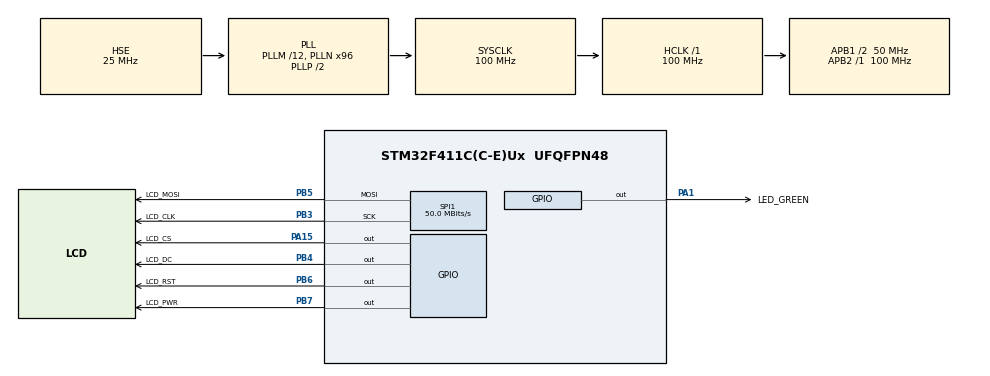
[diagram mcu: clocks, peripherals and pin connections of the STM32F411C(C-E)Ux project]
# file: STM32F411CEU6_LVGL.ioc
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Dma.Request0=SPI1_TX
Dma.SPI1_TX.0.Direction=DMA_MEMORY_TO_PERIPH
Dma.SPI1_TX.0.FIFOMode=DMA_FIFOMODE_DISABLE
Dma.SPI1_TX.0.Instance=DMA2_Stream2
Dma.SPI1_TX.0.MemDataAlignment=DMA_MDATAALIGN_HALFWORD
Dma.SPI1_TX.0.MemInc=DMA_MINC_ENABLE
Dma.SPI1_TX.0.Mode=DMA_NORMAL
Dma.SPI1_TX.0.PeriphDataAlignment=DMA_PDATAALIGN_HALFWORD
Dma.SPI1_TX.0.PeriphInc=DMA_PINC_DISABLE
Dma.SPI1_TX.0.Priority=DMA_PRIORITY_LOW
FREERTOS.Tasks01=TestTask,24,400,StartDefaultTask,Default,NULL,Dynamic,NULL,NULL;myTask01,24,128,StartTask02,Default,NULL,Dynamic,NULL,NULL
FREERTOS.configTOTAL_HEAP_SIZE=5000
Mcu.Family=STM32F4
Mcu.Name=STM32F411C(C-E)Ux
Mcu.Package=UFQFPN48
NVIC.DMA2_Stream2_IRQn=true\:5\:0\:false\:false\:true\:true\:false\:true\:true
NVIC.PriorityGroup=NVIC_PRIORITYGROUP_4
NVIC.TIM1_TRG_COM_TIM11_IRQn=true\:15\:0\:false\:false\:true\:false\:false\:true\:true
NVIC.TIM2_IRQn=true\:5\:0\:false\:false\:true\:true\:true\:true\:true
NVIC.TimeBase=TIM1_TRG_COM_TIM11_IRQn
NVIC.TimeBaseIP=TIM11
PA1.GPIO_Label=LED_GREEN
PA1.GPIO_Speed=GPIO_SPEED_FREQ_MEDIUM
PA1.Signal=GPIO_Output
PA13.Mode=Serial_Wire
PA13.Signal=SYS_JTMS-SWDIO
PA14.Mode=Serial_Wire
PA14.Signal=SYS_JTCK-SWCLK
PA15.GPIO_Label=LCD_CS
PA15.GPIO_Speed=GPIO_SPEED_FREQ_VERY_HIGH
PA15.PinState=GPIO_PIN_RESET
PA15.Signal=GPIO_Output
PB3.GPIO_Label=LCD_CLK
PB3.Mode=TX_Only_Simplex_Unidirect_Master
PB3.Signal=SPI1_SCK
PB4.GPIO_Label=LCD_DC
PB4.GPIO_Speed=GPIO_SPEED_FREQ_VERY_HIGH
PB4.Signal=GPIO_Output
PB5.GPIO_Label=LCD_MOSI
PB5.Mode=TX_Only_Simplex_Unidirect_Master
PB5.Signal=SPI1_MOSI
PB6.GPIO_Label=LCD_RST
PB6.GPIO_Speed=GPIO_SPEED_FREQ_VERY_HIGH
PB6.Signal=GPIO_Output
PB7.GPIO_Label=LCD_PWR
PB7.GPIO_Speed=GPIO_SPEED_FREQ_VERY_HIGH
PB7.Signal=GPIO_Output
PH0\ -\ OSC_IN.Mode=HSE-External-Oscillator
PH0\ -\ OSC_IN.Signal=RCC_OSC_IN
PH1\ -\ OSC_OUT.Mode=HSE-External-Oscillator
PH1\ -\ OSC_OUT.Signal=RCC_OSC_OUT
ProjectManager.HeapSize=0x8000
ProjectManager.StackSize=0x4000
ProjectManager.TargetToolchain=MDK-ARM V5
RCC.48MHZClocksFreq_Value=50000000
RCC.AHBFreq_Value=100000000
RCC.APB1CLKDivider=RCC_HCLK_DIV2
RCC.APB1Freq_Value=50000000
RCC.APB1TimFreq_Value=100000000
RCC.APB2Freq_Value=100000000
RCC.APB2TimFreq_Value=100000000
RCC.CortexFreq_Value=100000000
RCC.HCLKFreq_Value=100000000
RCC.HSE_VALUE=25000000
RCC.HSI_VALUE=16000000
RCC.LSE_VALUE=32768
RCC.PLLM=12
RCC.PLLN=96
RCC.PLLSourceVirtual=RCC_PLLSOURCE_HSE
RCC.SYSCLKFreq_VALUE=100000000
RCC.SYSCLKSource=RCC_SYSCLKSOURCE_PLLCLK
RCC.VCOOutputFreq_Value=200000000
SPI1.BaudRatePrescaler=SPI_BAUDRATEPRESCALER_2
SPI1.CLKPhase=SPI_PHASE_2EDGE
SPI1.CLKPolarity=SPI_POLARITY_HIGH
SPI1.CalculateBaudRate=50.0 MBits/s
SPI1.Direction=SPI_DIRECTION_2LINES
SPI1.Mode=SPI_MODE_MASTER
SPI1.VirtualType=VM_MASTER
TIM2.Period=1000-1
TIM2.Prescaler=100-1
VP_FREERTOS_VS_CMSIS_V2.Mode=CMSIS_V2
VP_SYS_VS_tim11.Mode=TIM11
VP_TIM2_VS_ClockSourceINT.Mode=Internal
board=custom

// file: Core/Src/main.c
/* USER CODE BEGIN Header */
/**
  ******************************************************************************
  * @file           : main.c
  * @brief          : Main program body
  ******************************************************************************
  * @attention
  *
  * Copyright (c) 2024 STMicroelectronics.
  * All rights reserved.
  *
  * This software is licensed under terms that can be found in the LICENSE file
  * in the root directory of this software component.
  * If no LICENSE file comes with this software, it is provided AS-IS.
  *
  ******************************************************************************
  */
/* USER CODE END Header */
#include "main.h"
#include "cmsis_os.h"
#include "dma.h"
#include "spi.h"
#include "tim.h"
#include "gpio.h"

/* USER CODE BEGIN Includes */
#include "stdio.h"
#include "tftlcd.h"
#include "font.h"
#include "gui_2d_lib.h"
#include "gui_text_lib.h"
#include "gui_widget_text.h"
#include "gui_widget_progbar.h"
#include "lvgl.h"
#include "lv_port_disp_template.h"
/* USER CODE END Includes */

void SystemClock_Config(void);
void MX_FREERTOS_Init(void);

int main(void)
{

  /* MCU Configuration--------------------------------------------------------*/

  /* Reset of all peripherals, Initializes the Flash interface and the Systick. */
  HAL_Init();

  /* Configure the system clock */
  SystemClock_Config();

  /* Initialize all configured peripherals */
  MX_GPIO_Init();
  MX_DMA_Init();
  MX_SPI1_Init();
  MX_TIM2_Init();

  /* Init scheduler */
  osKernelInitialize();

  /* Call init function for freertos objects (in cmsis_os2.c) */
  MX_FREERTOS_Init();

  /* Start scheduler */
  osKernelStart();

  /* We should never get here as control is now taken by the scheduler */

  /* Infinite loop */
  while (1)
  {

  }
}

void SystemClock_Config(void)
{
  RCC_OscInitTypeDef RCC_OscInitStruct = {0};
  RCC_ClkInitTypeDef RCC_ClkInitStruct = {0};

  /** Configure the main internal regulator output voltage
  */
  __HAL_RCC_PWR_CLK_ENABLE();
  __HAL_PWR_VOLTAGESCALING_CONFIG(PWR_REGULATOR_VOLTAGE_SCALE1);

  /** Initializes the RCC Oscillators according to the specified parameters
  * in the RCC_OscInitTypeDef structure.
  */
  RCC_OscInitStruct.OscillatorType = RCC_OSCILLATORTYPE_HSE;
  RCC_OscInitStruct.HSEState = RCC_HSE_ON;
  RCC_OscInitStruct.PLL.PLLState = RCC_PLL_ON;
  RCC_OscInitStruct.PLL.PLLSource = RCC_PLLSOURCE_HSE;
  RCC_OscInitStruct.PLL.PLLM = 12;
  RCC_OscInitStruct.PLL.PLLN = 96;
  RCC_OscInitStruct.PLL.PLLP = RCC_PLLP_DIV2;
  RCC_OscInitStruct.PLL.PLLQ = 4;
  if (HAL_RCC_OscConfig(&RCC_OscInitStruct) != HAL_OK)
  {
    Error_Handler();
  }

  /** Initializes the CPU, AHB and APB buses clocks
  */
  RCC_ClkInitStruct.ClockType = RCC_CLOCKTYPE_HCLK|RCC_CLOCKTYPE_SYSCLK
                              |RCC_CLOCKTYPE_PCLK1|RCC_CLOCKTYPE_PCLK2;
  RCC_ClkInitStruct.SYSCLKSource = RCC_SYSCLKSOURCE_PLLCLK;
  RCC_ClkInitStruct.AHBCLKDivider = RCC_SYSCLK_DIV1;
  RCC_ClkInitStruct.APB1CLKDivider = RCC_HCLK_DIV2;
  RCC_ClkInitStruct.APB2CLKDivider = RCC_HCLK_DIV1;

  if (HAL_RCC_ClockConfig(&RCC_ClkInitStruct, FLASH_LATENCY_3) != HAL_OK)
  {
    Error_Handler();
  }
}

/* USER CODE BEGIN 4 */
void text_scroll_demo(void){
  lv_obj_t* color_text = lv_label_create(lv_scr_act());
  lv_label_set_recolor(color_text, true);
  lv_label_set_long_mode(color_text, LV_LABEL_LONG_SCROLL_CIRCULAR);
  lv_obj_set_width(color_text, 200); // 设置标签宽度以触发滚动
  lv_label_set_text(color_text, "#0000ff 1hello world~# #00ff00 2hello world~# #ff0000 3hello world~# 4hello world~ ");
  lv_obj_center(color_text);
}

void botton_demo(void){
    lv_obj_t* btn = lv_btn_create(lv_scr_act());
    lv_obj_set_pos(btn, 20, 30);
    lv_obj_set_size(btn, 200, 75);
    lv_obj_t* label = lv_label_create(btn);
    lv_label_set_text(label, "Button");
    lv_obj_center(label);
}

void led_demo(void)
{
    lv_obj_t * led1  = lv_led_create(lv_scr_act());
    lv_obj_align(led1, LV_ALIGN_CENTER, -80, 0);
    lv_led_off(led1);

    /*Copy the previous LED and set a brightness*/
    lv_obj_t * led2  = lv_led_create(lv_scr_act());
    lv_obj_align(led2, LV_ALIGN_CENTER, 0, 0);
    lv_led_set_brightness(led2, 150);
    lv_led_set_color(led2, lv_palette_main(LV_PALETTE_RED));

    /*Copy the previous LED and switch it ON*/
    lv_obj_t * led3  = lv_led_create(lv_scr_act());
    lv_obj_align(led3, LV_ALIGN_CENTER, 80, 0);
    lv_led_on(led3);
}

// 动画回调函数，用于更新滑动条的 x 位置
static void anim_bar_cb(void *var, int32_t v)
{
    lv_obj_set_x((lv_obj_t *)var, v);
}

void anim_demo(void)
{
    // 创建一个滑动条对象
    lv_obj_t * bar = lv_bar_create(lv_scr_act());
    lv_obj_set_size(bar, 20, 100);
    lv_obj_align(bar, LV_ALIGN_CENTER, -240 / 2 + 20 / 2, 0); // 初始位置

    // 创建动画
    lv_anim_t anim;
    lv_anim_init(&anim);
    lv_anim_set_var(&anim, bar);
    lv_anim_set_values(&anim, -240 / 2 + 20 / 2, 240 / 2 - 20 / 2);
    lv_anim_set_time(&anim, 2000);
    lv_anim_set_exec_cb(&anim, anim_bar_cb); // 设置动画回调
    lv_anim_set_path_cb(&anim, lv_anim_path_ease_in_out); // 平滑的动画效果
    lv_anim_set_repeat_count(&anim, LV_ANIM_REPEAT_INFINITE); // 无限循环
    lv_anim_set_playback_time(&anim, 2000); // 回放动画
    lv_anim_start(&anim);
}
/* USER CODE END 4 */

void HAL_TIM_PeriodElapsedCallback(TIM_HandleTypeDef *htim)
{
  if (htim->Instance == TIM11) {
    HAL_IncTick();
  }
}

void Error_Handler(void)
{
  __disable_irq();
  while (1)
  {
  }
}

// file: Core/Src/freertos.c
/* USER CODE BEGIN Header */
/**
  ******************************************************************************
  * File Name          : freertos.c
  * Description        : Code for freertos applications
  ******************************************************************************
  * @attention
  *
  * Copyright (c) 2024 STMicroelectronics.
  * All rights reserved.
  *
  * This software is licensed under terms that can be found in the LICENSE file
  * in the root directory of this software component.
  * If no LICENSE file comes with this software, it is provided AS-IS.
  *
  ******************************************************************************
  */
/* USER CODE END Header */

#include "FreeRTOS.h"
#include "task.h"
#include "main.h"
#include "cmsis_os.h"

/* USER CODE BEGIN Includes */
#include "stdio.h"
#include "tftlcd.h"
#include "font.h"
#include "gui_2d_lib.h"
#include "gui_text_lib.h"
#include "gui_widget_text.h"
#include "gui_widget_progbar.h"
#include "lvgl.h"
#include "lv_port_disp_template.h"
#include "dma.h"
#include "spi.h"
#include "tim.h"
#include "gpio.h"
/* USER CODE END Includes */

/* Definitions for TestTask */
osThreadId_t TestTaskHandle;
const osThreadAttr_t TestTask_attributes = {
  .name = "TestTask",
  .stack_size = 400 * 4,
  .priority = (osPriority_t) osPriorityNormal,
};
/* Definitions for myTask01 */
osThreadId_t myTask01Handle;
const osThreadAttr_t myTask01_attributes = {
  .name = "myTask01",
  .stack_size = 128 * 4,
  .priority = (osPriority_t) osPriorityNormal,
};

/* USER CODE BEGIN FunctionPrototypes */
char *strings[7]={"AUDIO", "#ff00ff BARS#", "#cccc00 IMAGE#", "#0000ff BLUETOOTH#",\
                  "#00ee00 BATTERY#", "#00cccc DIRECTORY#", "#ff0000 GPS#"};
char *symbols[7]={LV_SYMBOL_AUDIO, LV_SYMBOL_BARS, LV_SYMBOL_IMAGE, LV_SYMBOL_BLUETOOTH,\
                  LV_SYMBOL_BATTERY_2, LV_SYMBOL_DIRECTORY, LV_SYMBOL_GPS};
uint8_t string_ch = 0;
uint8_t string_set = 0;
/* USER CODE END FunctionPrototypes */

void StartDefaultTask(void *argument);
void StartTask02(void *argument);

void MX_FREERTOS_Init(void); /* (MISRA C 2004 rule 8.1) */

void MX_FREERTOS_Init(void) {

  /* Create the thread(s) */
  /* creation of TestTask */
  TestTaskHandle = osThreadNew(StartDefaultTask, NULL, &TestTask_attributes);

  /* creation of myTask01 */
  myTask01Handle = osThreadNew(StartTask02, NULL, &myTask01_attributes);

}

void StartDefaultTask(void *argument)
{
  /* USER CODE BEGIN StartDefaultTask */
    lv_init();
    HAL_TIM_Base_Start_IT(&htim2);
    lv_port_disp_init();
    lv_obj_t* symbol = lv_label_create(lv_scr_act());
    lv_obj_t* text = lv_label_create(symbol);

    lv_label_set_recolor(text, true);

    lv_label_set_text(symbol, symbols[string_ch]);
    lv_label_set_text(text, strings[string_ch]);

    lv_obj_set_width(text, LV_SIZE_CONTENT);
    lv_obj_align(text, LV_ALIGN_LEFT_MID, 25, 0);
    lv_obj_center(symbol);

  /* Infinite loop */
  for(;;)
  {
    if(string_set)
    {
        lv_label_set_text(symbol, symbols[string_ch]);
        lv_label_set_text(text, strings[string_ch]);
        string_set=0;
    }
    lv_task_handler();
    osDelay(1);
  }
  /* USER CODE END StartDefaultTask */
}

void StartTask02(void *argument)
{
  /* USER CODE BEGIN StartTask02 */
  LED_G(1);
  /* Infinite loop */
  for(;;)
  {
   string_ch++;
   string_ch%=7;
   string_set=1;
   LED_G(0);
   osDelay(500);
   LED_G(1);
   osDelay(500);
  }
  /* USER CODE END StartTask02 */
}
